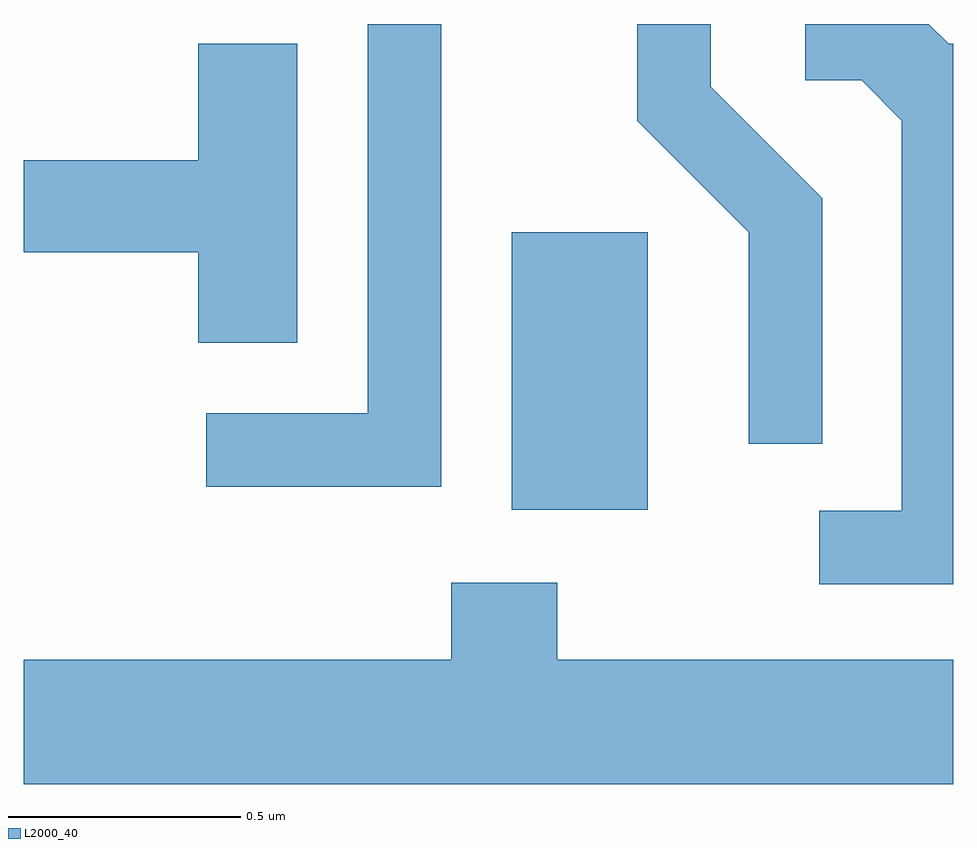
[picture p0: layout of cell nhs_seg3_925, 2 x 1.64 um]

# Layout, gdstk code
import gdstk
lib = gdstk.Library(unit=1e-6, precision=1e-09)
def R(c, l, rs):  # rectangles x0, y0, x1, y1
    for r in rs: c.add(gdstk.rectangle(r[:2], r[2:], *l))
def P(c, l, *ps):  # polygons
    for p in ps: c.add(gdstk.Polygon(p, *l))
L2000_40 = (2000, 40)

nhs_seg3_925 = lib.new_cell('nhs_seg3_925')
R(nhs_seg3_925, L2000_40, [(192.661,1219.846,192.954,1220.444)])
P(nhs_seg3_925, L2000_40, [(193.611,1220.849),(193.602,1220.849),(193.559,1220.892),(193.293,1220.892),(193.293,1220.771),(193.414,1220.771),(193.501,1220.684),(193.501,1219.844),(193.323,1219.844),(193.323,1219.686),(193.611,1219.686)],
  [(192.509,1220.892),(192.351,1220.892),(192.351,1220.054),(192.003,1220.054),(192.003,1219.896),(192.509,1219.896)],
  [(193.329,1220.517),(193.089,1220.757),(193.089,1220.892),(192.931,1220.892),(192.931,1220.684),(193.171,1220.444),(193.171,1219.988),(193.329,1219.988)],
  [(192.199,1220.849),(191.986,1220.849),(191.986,1220.599),(191.611,1220.599),(191.611,1220.401),(191.986,1220.401),(191.986,1220.206),(192.199,1220.206)],
  [(193.611,1219.524),(192.759,1219.524),(192.759,1219.689),(192.531,1219.689),(192.531,1219.524),(191.611,1219.524),(191.611,1219.256),(193.611,1219.256)])

lib.write_gds('nhs_seg3_925.gds')
